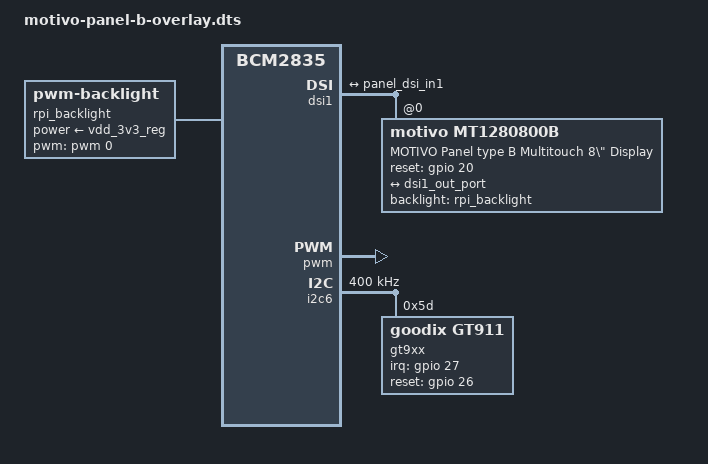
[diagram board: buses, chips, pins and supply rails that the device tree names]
/*
 * Device Tree overlay for MOTIVO Panel type B Multitouch 8" Display
 *
 * Supports DSI1 (default) or DSI0 via dsi0 parameter
 * Supports I2C6 (default, Motivo hardware) or alternative buses via i2c0/i2c1/i2c3
 * Supports rotation via rotation parameter (default 270)
 *
 * Usage examples:
 *   dtoverlay=motivo-panel-b                         (DSI1, i2c6, rotation 270)
 *   dtoverlay=motivo-panel-b,rotation=0              (DSI1, i2c6, rotation 0)
 *   dtoverlay=motivo-panel-b,rotation=180            (DSI1, i2c6, rotation 180)
 *   dtoverlay=motivo-panel-b,dsi0                    (DSI0, i2c6, rotation 270)
 *   dtoverlay=motivo-panel-b,i2c1                    (DSI1, i2c1, rotation 270)
 *   dtoverlay=motivo-panel-b,dsi0,i2c0               (DSI0, i2c0, rotation 270)
 *
 * Note: When using non-default I2C bus, pin configuration may require
 *       adjustment based on carrier board design.
 */

/dts-v1/;
/plugin/;

/ {
    compatible = "brcm,bcm2835";

    /* DSI port fragment - default target is dsi1 */
    dsi_frag: fragment@0 {
        target = <&dsi1>;

        __overlay__ {
            status = "okay";

            #address-cells = <1>;
            #size-cells = <0>;

            port {
                dsi1_out_port: endpoint {
                    remote-endpoint = <&panel_dsi_in1>;
                };
            };

            panel: display1: panel@0 {
                compatible = "motivo,mt1280800b";
                reg = <0>;
                label = "MOTIVO Panel type B Multitouch 8\" Display";
                rotation = <270>;
                backlight = <&rpi_backlight>;
                reset-gpios = <&gpio 20 0>;
                port {
                    panel_dsi_in1: endpoint {
                        remote-endpoint = <&dsi1_out_port>;
                    };
                };
            };
        };
    };

    fragment@1 {
        target = <&gpio>;
        __overlay__ {
            pwm_pins: pwm_pins {
                brcm,pins = <12>;
                brcm,function = <4>; // ALT0
            };
        };
    };

    fragment@2 {
        target = <&pwm>;
        frag1: __overlay__ {
            pinctrl-names = "default";
            pinctrl-0 = <&pwm_pins>;
            assigned-clock-rates = <1000000>;
            status = "okay";
        };
    };

    fragment@3 {
        target-path = "/";
        __overlay__ {
            rpi_backlight: rpi_backlight {
                compatible = "pwm-backlight";
                brightness-levels = <0 6 8 12 16 24 32 40 48 64 96 128 160 192 224 255>;
                default-brightness-level = <6>;
                pwms = <&pwm 0 200000 0>;
                power-supply = <&vdd_3v3_reg>;
                status = "okay";
            };
        };
    };

    /* I2C bus status fragment - default target is i2c6 */
    i2c_frag: fragment@4 {
        target = <&i2c6>;
        __overlay__ {
            status = "okay";
            pinctrl-names = "default";
            pinctrl-0 = <&i2c6_pins>;
            clock-frequency = <400000>;
        };
    };

    fragment@5 {
        target = <&i2c6_pins>;
        __dormant__ {
            brcm,pins = <0 1>;
        };
    };

    fragment@6 {
        target = <&i2c6_pins>;
        __overlay__ {
            brcm,pins = <22 23>;
        };
    };

    fragment@7 {
        target = <&gpio>;
        __overlay__ {
            goodix_pins: goodix_pins {
                brcm,pins = <27 26>; // interrupt and reset
                brcm,function = <0 0>; // in
                brcm,pull = <2 2>; // pull-up
            };
        };
    };

    /* I2C touch controller fragment - default target is i2c6 */
    i2c_touch_frag: fragment@8 {
        target = <&i2c6>;
        __overlay__ {
            #address-cells = <1>;
            #size-cells = <0>;
            status = "okay";

            gt9xx: gt9xx@5d {
                compatible = "goodix,gt911";
                reg = <0x5D>;
                pinctrl-names = "default";
                pinctrl-0 = <&goodix_pins>;
                interrupt-parent = <&gpio>;
                interrupts = <27 2>; // high-to-low edge triggered
                irq-gpios = <&gpio 27 0>;
                reset-gpios = <&gpio 26 0>;
                touchscreen-size-x = <800>;
                touchscreen-size-y = <1280>;
                touchscreen-inverted-x;
                touchscreen-swapped-x-y;
            };
        };
    };

    __overrides__ {
        /* Display rotation: 0, 90, 180, 270 (default 270) */
        rotation = <&panel>, "rotation:0";

        /* Use DSI0 instead of DSI1 */
        dsi0 = <&dsi_frag>, "target:0=", <&dsi0>;

        /* Alternative I2C buses for non-Motivo hardware */
        /* Note: Pin configuration may need adjustment */
        i2c0 = <&i2c_frag>, "target:0=", <&i2c0>,
               <&i2c_touch_frag>, "target:0=", <&i2c0>;
        i2c1 = <&i2c_frag>, "target:0=", <&i2c1>,
               <&i2c_touch_frag>, "target:0=", <&i2c1>;
        i2c3 = <&i2c_frag>, "target:0=", <&i2c3>,
               <&i2c_touch_frag>, "target:0=", <&i2c3>;
    };
};
